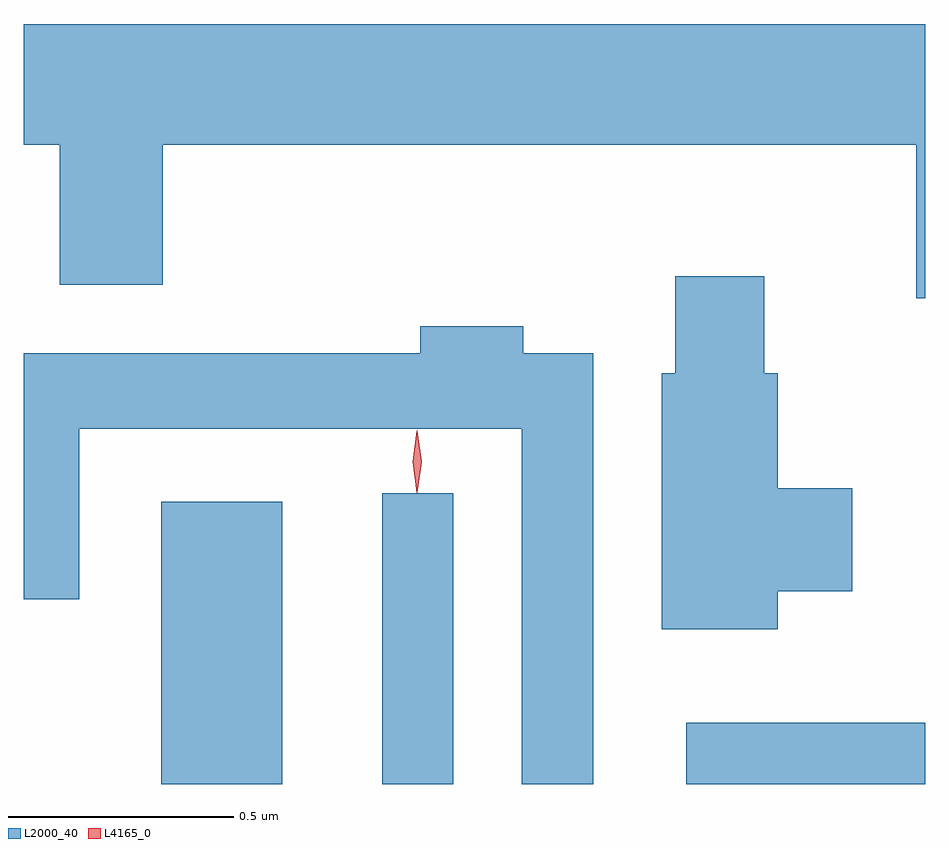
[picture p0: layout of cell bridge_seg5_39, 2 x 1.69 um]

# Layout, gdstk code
import gdstk
lib = gdstk.Library(unit=1e-6, precision=1e-09)
def R(c, l, rs):  # rectangles x0, y0, x1, y1
    for r in rs: c.add(gdstk.rectangle(r[:2], r[2:], *l))
def P(c, l, *ps):  # polygons
    for p in ps: c.add(gdstk.Polygon(p, *l))
L2000_40 = (2000, 40)
L4165_0 = (4165, 0)

bridge_seg5_39 = lib.new_cell('bridge_seg5_39')
R(bridge_seg5_39, L2000_40, [(1344.876,1475.358,1345.144,1475.984), (1345.366,1475.358,1345.524,1476.003), (1346.041,1475.358,1346.571,1475.494)])
P(bridge_seg5_39, L2000_40, [(1346.571,1477.044),(1344.571,1477.044),(1344.571,1476.776),(1344.651,1476.776),(1344.651,1476.466),(1344.879,1476.466),(1344.879,1476.776),(1346.551,1476.776),(1346.551,1476.436),(1346.571,1476.436)],
  [(1346.244,1475.786),(1346.409,1475.786),(1346.409,1476.014),(1346.244,1476.014),(1346.244,1476.269),(1346.214,1476.269),(1346.214,1476.484),(1346.016,1476.484),(1346.016,1476.269),(1345.986,1476.269),(1345.986,1475.701),(1346.244,1475.701)],
  [(1345.834,1476.314),(1345.679,1476.314),(1345.679,1476.374),(1345.451,1476.374),(1345.451,1476.314),(1344.571,1476.314),(1344.571,1475.768),(1344.694,1475.768),(1344.694,1476.146),(1345.676,1476.146),(1345.676,1475.358),(1345.834,1475.358)])
P(bridge_seg5_39, L4165_0, [(1345.444,1476.003),(1345.443,1476.004),(1345.434,1476.073),(1345.443,1476.142),(1345.444,1476.143),(1345.444,1476.142),(1345.454,1476.073),(1345.444,1476.004)])

lib.write_gds('bridge_seg5_39.gds')
